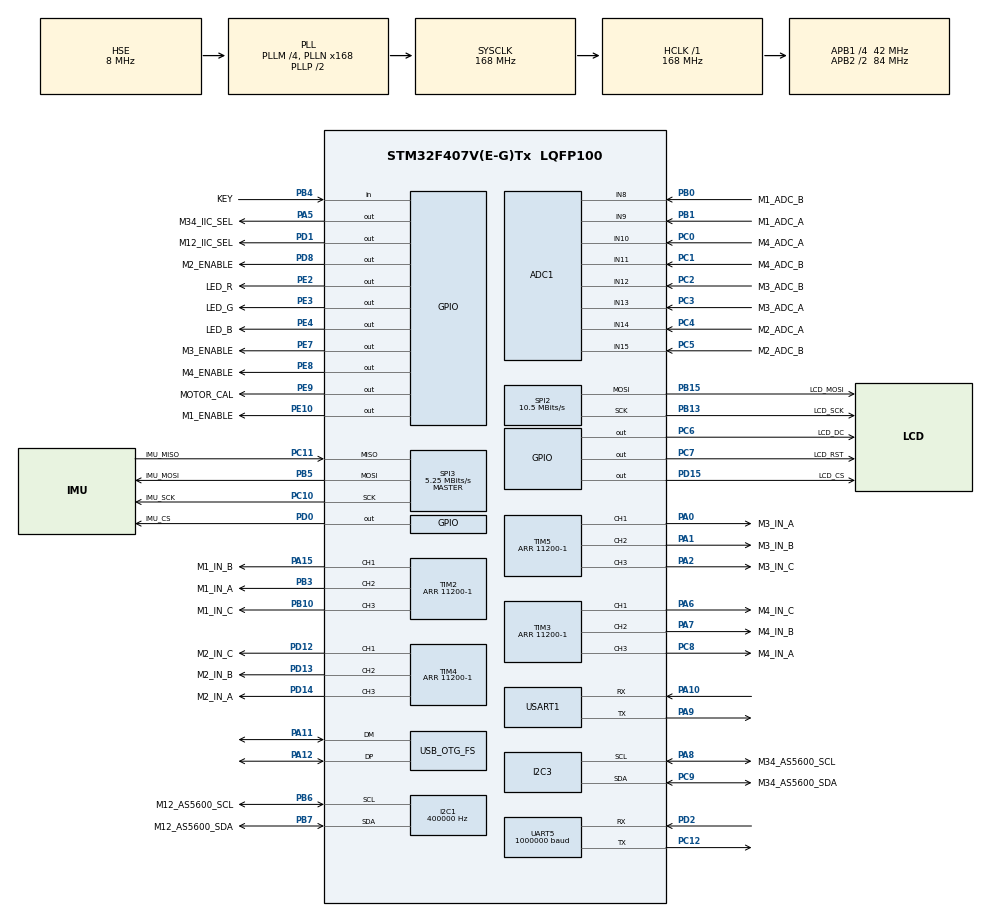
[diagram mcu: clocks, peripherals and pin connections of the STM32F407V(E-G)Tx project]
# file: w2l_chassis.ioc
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ADC1.Channel-1\#ChannelRegularConversion=ADC_CHANNEL_8
ADC1.Channel-2\#ChannelRegularConversion=ADC_CHANNEL_9
ADC1.Channel-3\#ChannelInjectedConversion=ADC_CHANNEL_8
ADC1.Channel-4\#ChannelRegularConversion=ADC_CHANNEL_14
ADC1.Channel-5\#ChannelRegularConversion=ADC_CHANNEL_15
ADC1.Channel-6\#ChannelRegularConversion=ADC_CHANNEL_12
ADC1.Channel-7\#ChannelRegularConversion=ADC_CHANNEL_13
ADC1.Channel-8\#ChannelRegularConversion=ADC_CHANNEL_10
ADC1.Channel-9\#ChannelRegularConversion=ADC_CHANNEL_11
ADC1.DMAContinuousRequests=ENABLE
ADC1.ExternalTrigConv=ADC_EXTERNALTRIGCONV_T3_TRGO
ADC1.ExternalTrigInjecConv=ADC_INJECTED_SOFTWARE_START
ADC1.InjNumberOfConversion=1
ADC1.InjectedOffset-3\#ChannelInjectedConversion=0
ADC1.InjectedRank-3\#ChannelInjectedConversion=1
ADC1.NbrOfConversion=8
ADC1.NbrOfConversionFlag=1
ADC1.Rank-1\#ChannelRegularConversion=1
ADC1.Rank-2\#ChannelRegularConversion=2
ADC1.Rank-4\#ChannelRegularConversion=3
ADC1.Rank-5\#ChannelRegularConversion=4
ADC1.Rank-6\#ChannelRegularConversion=5
ADC1.Rank-7\#ChannelRegularConversion=6
ADC1.Rank-8\#ChannelRegularConversion=7
ADC1.Rank-9\#ChannelRegularConversion=8
ADC1.SamplingTime-1\#ChannelRegularConversion=ADC_SAMPLETIME_15CYCLES
ADC1.SamplingTime-2\#ChannelRegularConversion=ADC_SAMPLETIME_15CYCLES
ADC1.SamplingTime-3\#ChannelInjectedConversion=ADC_SAMPLETIME_3CYCLES
ADC1.SamplingTime-4\#ChannelRegularConversion=ADC_SAMPLETIME_15CYCLES
ADC1.SamplingTime-5\#ChannelRegularConversion=ADC_SAMPLETIME_15CYCLES
ADC1.SamplingTime-6\#ChannelRegularConversion=ADC_SAMPLETIME_15CYCLES
ADC1.SamplingTime-7\#ChannelRegularConversion=ADC_SAMPLETIME_15CYCLES
ADC1.SamplingTime-8\#ChannelRegularConversion=ADC_SAMPLETIME_15CYCLES
ADC1.SamplingTime-9\#ChannelRegularConversion=ADC_SAMPLETIME_15CYCLES
ADC1.ScanConvMode=ENABLE
ADC1.master=1
Dma.ADC1.0.Direction=DMA_PERIPH_TO_MEMORY
Dma.ADC1.0.FIFOMode=DMA_FIFOMODE_DISABLE
Dma.ADC1.0.Instance=DMA2_Stream0
Dma.ADC1.0.MemDataAlignment=DMA_MDATAALIGN_HALFWORD
Dma.ADC1.0.MemInc=DMA_MINC_ENABLE
Dma.ADC1.0.Mode=DMA_CIRCULAR
Dma.ADC1.0.PeriphDataAlignment=DMA_PDATAALIGN_HALFWORD
Dma.ADC1.0.PeriphInc=DMA_PINC_DISABLE
Dma.ADC1.0.Priority=DMA_PRIORITY_HIGH
Dma.I2C1_RX.3.Direction=DMA_PERIPH_TO_MEMORY
Dma.I2C1_RX.3.FIFOMode=DMA_FIFOMODE_DISABLE
Dma.I2C1_RX.3.Instance=DMA1_Stream0
Dma.I2C1_RX.3.MemDataAlignment=DMA_MDATAALIGN_BYTE
Dma.I2C1_RX.3.MemInc=DMA_MINC_ENABLE
Dma.I2C1_RX.3.Mode=DMA_NORMAL
Dma.I2C1_RX.3.PeriphDataAlignment=DMA_PDATAALIGN_BYTE
Dma.I2C1_RX.3.PeriphInc=DMA_PINC_DISABLE
Dma.I2C1_RX.3.Priority=DMA_PRIORITY_LOW
Dma.I2C1_TX.4.Direction=DMA_MEMORY_TO_PERIPH
Dma.I2C1_TX.4.FIFOMode=DMA_FIFOMODE_DISABLE
Dma.I2C1_TX.4.Instance=DMA1_Stream6
Dma.I2C1_TX.4.MemDataAlignment=DMA_MDATAALIGN_BYTE
Dma.I2C1_TX.4.MemInc=DMA_MINC_ENABLE
Dma.I2C1_TX.4.Mode=DMA_NORMAL
Dma.I2C1_TX.4.PeriphDataAlignment=DMA_PDATAALIGN_BYTE
Dma.I2C1_TX.4.PeriphInc=DMA_PINC_DISABLE
Dma.I2C1_TX.4.Priority=DMA_PRIORITY_LOW
Dma.I2C3_RX.1.Direction=DMA_PERIPH_TO_MEMORY
Dma.I2C3_RX.1.FIFOMode=DMA_FIFOMODE_DISABLE
Dma.I2C3_RX.1.Instance=DMA1_Stream2
Dma.I2C3_RX.1.MemDataAlignment=DMA_MDATAALIGN_BYTE
Dma.I2C3_RX.1.MemInc=DMA_MINC_ENABLE
Dma.I2C3_RX.1.Mode=DMA_NORMAL
Dma.I2C3_RX.1.PeriphDataAlignment=DMA_PDATAALIGN_BYTE
Dma.I2C3_RX.1.PeriphInc=DMA_PINC_DISABLE
Dma.I2C3_RX.1.Priority=DMA_PRIORITY_LOW
Dma.I2C3_TX.2.Direction=DMA_MEMORY_TO_PERIPH
Dma.I2C3_TX.2.FIFOMode=DMA_FIFOMODE_DISABLE
Dma.I2C3_TX.2.Instance=DMA1_Stream4
Dma.I2C3_TX.2.MemDataAlignment=DMA_MDATAALIGN_BYTE
Dma.I2C3_TX.2.MemInc=DMA_MINC_ENABLE
Dma.I2C3_TX.2.Mode=DMA_NORMAL
Dma.I2C3_TX.2.PeriphDataAlignment=DMA_PDATAALIGN_BYTE
Dma.I2C3_TX.2.PeriphInc=DMA_PINC_DISABLE
Dma.I2C3_TX.2.Priority=DMA_PRIORITY_LOW
Dma.Request0=ADC1
Dma.Request1=I2C3_RX
Dma.Request2=I2C3_TX
Dma.Request3=I2C1_RX
Dma.Request4=I2C1_TX
I2C1.ClockSpeed=400000
I2C1.I2C_Mode=I2C_Fast
I2C3.I2C_Mode=I2C_Fast
Mcu.Family=STM32F4
Mcu.Name=STM32F407V(E-G)Tx
Mcu.Package=LQFP100
NVIC.DMA1_Stream0_IRQn=true\:0\:0\:false\:false\:true\:false\:true\:true
NVIC.DMA1_Stream2_IRQn=true\:0\:0\:false\:false\:true\:false\:true\:true
NVIC.DMA1_Stream4_IRQn=true\:0\:0\:false\:false\:true\:false\:true\:true
NVIC.DMA1_Stream6_IRQn=true\:0\:0\:false\:false\:true\:false\:true\:true
NVIC.DMA2_Stream0_IRQn=true\:0\:0\:false\:false\:true\:false\:true\:true
NVIC.OTG_FS_IRQn=true\:0\:0\:false\:false\:true\:false\:true\:true
NVIC.PriorityGroup=NVIC_PRIORITYGROUP_4
NVIC.TIM6_DAC_IRQn=true\:0\:0\:false\:false\:true\:true\:true\:true
NVIC.UART5_IRQn=true\:0\:0\:false\:false\:true\:true\:true\:true
PA0-WKUP.GPIO_Label=M3_IN_A
PA0-WKUP.Signal=S_TIM5_CH1
PA1.GPIO_Label=M3_IN_B
PA1.Signal=S_TIM5_CH2
PA10.Mode=Asynchronous
PA10.Signal=USART1_RX
PA11.Mode=Device_Only
PA11.Signal=USB_OTG_FS_DM
PA12.Mode=Device_Only
PA12.Signal=USB_OTG_FS_DP
PA13.Mode=Serial_Wire
PA13.Signal=SYS_JTMS-SWDIO
PA14.Mode=Serial_Wire
PA14.Signal=SYS_JTCK-SWCLK
PA15.GPIO_Label=M1_IN_B
PA15.Signal=S_TIM2_CH1_ETR
PA2.GPIO_Label=M3_IN_C
PA2.Signal=S_TIM5_CH3
PA5.GPIO_Label=M34_IIC_SEL
PA5.PinState=GPIO_PIN_RESET
PA5.Signal=GPIO_Output
PA6.GPIO_Label=M4_IN_C
PA6.Signal=S_TIM3_CH1
PA7.GPIO_Label=M4_IN_B
PA7.Signal=S_TIM3_CH2
PA8.GPIO_Label=M34_AS5600_SCL
PA8.GPIO_Pu=GPIO_PULLUP
PA8.Mode=I2C
PA8.Signal=I2C3_SCL
PA9.Mode=Asynchronous
PA9.Signal=USART1_TX
PB0.GPIO_Label=M1_ADC_B
PB0.GPIO_Mode=GPIO_MODE_ANALOG
PB0.Signal=ADCx_IN8
PB1.GPIO_Label=M1_ADC_A
PB1.GPIO_Mode=GPIO_MODE_ANALOG
PB1.Signal=ADCx_IN9
PB10.GPIO_Label=M1_IN_C
PB10.Signal=S_TIM2_CH3
PB13.GPIO_Label=LCD_SCK
PB13.Mode=TX_Only_Simplex_Unidirect_Master
PB13.Signal=SPI2_SCK
PB15.GPIO_Label=LCD_MOSI
PB15.Mode=TX_Only_Simplex_Unidirect_Master
PB15.Signal=SPI2_MOSI
PB3.GPIO_Label=M1_IN_A
PB3.Signal=S_TIM2_CH2
PB4.GPIO_Label=KEY
PB4.GPIO_PuPd=GPIO_PULLUP
PB4.Signal=GPIO_Input
PB5.GPIO_Label=IMU_MOSI
PB5.Mode=Full_Duplex_Master
PB5.Signal=SPI3_MOSI
PB6.GPIO_Label=M12_AS5600_SCL
PB6.GPIO_Pu=GPIO_NOPULL
PB6.Mode=I2C
PB6.Signal=I2C1_SCL
PB7.GPIO_Label=M12_AS5600_SDA
PB7.GPIO_Pu=GPIO_NOPULL
PB7.Mode=I2C
PB7.Signal=I2C1_SDA
PC0.GPIO_Label=M4_ADC_A
PC0.GPIO_Mode=GPIO_MODE_ANALOG
PC0.Signal=ADCx_IN10
PC1.GPIO_Label=M4_ADC_B
PC1.GPIO_Mode=GPIO_MODE_ANALOG
PC1.Signal=ADCx_IN11
PC10.GPIO_Label=IMU_SCK
PC10.Mode=Full_Duplex_Master
PC10.Signal=SPI3_SCK
PC11.GPIO_Label=IMU_MISO
PC11.Mode=Full_Duplex_Master
PC11.Signal=SPI3_MISO
PC12.Mode=Asynchronous
PC12.Signal=UART5_TX
PC2.GPIO_Label=M3_ADC_B
PC2.GPIO_Mode=GPIO_MODE_ANALOG
PC2.Signal=ADCx_IN12
PC3.GPIO_Label=M3_ADC_A
PC3.GPIO_Mode=GPIO_MODE_ANALOG
PC3.Signal=ADCx_IN13
PC4.GPIO_Label=M2_ADC_A
PC4.GPIO_Mode=GPIO_MODE_ANALOG
PC4.Signal=ADCx_IN14
PC5.GPIO_Label=M2_ADC_B
PC5.GPIO_Mode=GPIO_MODE_ANALOG
PC5.Signal=ADCx_IN15
PC6.GPIO_Label=LCD_DC
PC6.PinState=GPIO_PIN_SET
PC6.Signal=GPIO_Output
PC7.GPIO_Label=LCD_RST
PC7.PinState=GPIO_PIN_SET
PC7.Signal=GPIO_Output
PC8.GPIO_Label=M4_IN_A
PC8.Signal=S_TIM3_CH3
PC9.GPIO_Label=M34_AS5600_SDA
PC9.GPIO_Pu=GPIO_PULLUP
PC9.Mode=I2C
PC9.Signal=I2C3_SDA
PD0.GPIO_Label=IMU_CS
PD0.PinState=GPIO_PIN_SET
PD0.Signal=GPIO_Output
PD1.GPIO_Label=M12_IIC_SEL
PD1.Signal=GPIO_Output
PD12.GPIO_Label=M2_IN_C
PD12.Signal=S_TIM4_CH1
PD13.GPIO_Label=M2_IN_B
PD13.Signal=S_TIM4_CH2
PD14.GPIO_Label=M2_IN_A
PD14.Signal=S_TIM4_CH3
PD15.GPIO_Label=LCD_CS
PD15.PinState=GPIO_PIN_SET
PD15.Signal=GPIO_Output
PD2.Mode=Asynchronous
PD2.Signal=UART5_RX
PD8.GPIO_Label=M2_ENABLE
PD8.Signal=GPIO_Output
PE10.GPIO_Label=M1_ENABLE
PE10.GPIO_PuPd=GPIO_PULLDOWN
PE10.Signal=GPIO_Output
PE2.GPIO_Label=LED_R
PE2.PinState=GPIO_PIN_SET
PE2.Signal=GPIO_Output
PE3.GPIO_Label=LED_G
PE3.PinState=GPIO_PIN_SET
PE3.Signal=GPIO_Output
PE4.GPIO_Label=LED_B
PE4.PinState=GPIO_PIN_SET
PE4.Signal=GPIO_Output
PE7.GPIO_Label=M3_ENABLE
PE7.Signal=GPIO_Output
PE8.GPIO_Label=M4_ENABLE
PE8.Signal=GPIO_Output
PE9.GPIO_Label=MOTOR_CAL
PE9.Signal=GPIO_Output
PH0-OSC_IN.Mode=HSE-External-Oscillator
PH0-OSC_IN.Signal=RCC_OSC_IN
PH1-OSC_OUT.Mode=HSE-External-Oscillator
PH1-OSC_OUT.Signal=RCC_OSC_OUT
ProjectManager.HeapSize=0x200
ProjectManager.StackSize=0x400
ProjectManager.TargetToolchain=MDK-ARM V5.32
RCC.48MHZClocksFreq_Value=48000000
RCC.AHBFreq_Value=168000000
RCC.APB1CLKDivider=RCC_HCLK_DIV4
RCC.APB1Freq_Value=42000000
RCC.APB1TimFreq_Value=84000000
RCC.APB2CLKDivider=RCC_HCLK_DIV2
RCC.APB2Freq_Value=84000000
RCC.APB2TimFreq_Value=168000000
RCC.CortexFreq_Value=168000000
RCC.HCLKFreq_Value=168000000
RCC.HSE_VALUE=8000000
RCC.HSI_VALUE=16000000
RCC.LSE_VALUE=32768
RCC.PLLM=4
RCC.PLLN=168
RCC.PLLQ=7
RCC.SYSCLKFreq_VALUE=168000000
RCC.SYSCLKSource=RCC_SYSCLKSOURCE_PLLCLK
RCC.VCOOutputFreq_Value=336000000
SH.ADCx_IN10.0=ADC1_IN10,IN10
SH.ADCx_IN11.0=ADC1_IN11,IN11
SH.ADCx_IN12.0=ADC1_IN12,IN12
SH.ADCx_IN13.0=ADC1_IN13,IN13
SH.ADCx_IN14.0=ADC1_IN14,IN14
SH.ADCx_IN15.0=ADC1_IN15,IN15
SH.ADCx_IN8.0=ADC1_IN8,IN8
SH.ADCx_IN9.0=ADC1_IN9,IN9
SH.S_TIM2_CH1_ETR.0=TIM2_CH1,PWM Generation1 CH1
SH.S_TIM2_CH2.0=TIM2_CH2,PWM Generation2 CH2
SH.S_TIM2_CH3.0=TIM2_CH3,PWM Generation3 CH3
SH.S_TIM3_CH1.0=TIM3_CH1,PWM Generation1 CH1
SH.S_TIM3_CH2.0=TIM3_CH2,PWM Generation2 CH2
SH.S_TIM3_CH3.0=TIM3_CH3,PWM Generation3 CH3
SH.S_TIM4_CH1.0=TIM4_CH1,PWM Generation1 CH1
SH.S_TIM4_CH2.0=TIM4_CH2,PWM Generation2 CH2
SH.S_TIM4_CH3.0=TIM4_CH3,PWM Generation3 CH3
SH.S_TIM5_CH1.0=TIM5_CH1,PWM Generation1 CH1
SH.S_TIM5_CH2.0=TIM5_CH2,PWM Generation2 CH2
SH.S_TIM5_CH3.0=TIM5_CH3,PWM Generation3 CH3
SPI2.BaudRatePrescaler=SPI_BAUDRATEPRESCALER_4
SPI2.CalculateBaudRate=10.5 MBits/s
SPI2.Direction=SPI_DIRECTION_2LINES
SPI2.Mode=SPI_MODE_MASTER
SPI2.VirtualType=VM_MASTER
SPI3.BaudRatePrescaler=SPI_BAUDRATEPRESCALER_8
SPI3.CLKPhase=SPI_PHASE_2EDGE
SPI3.CLKPolarity=SPI_POLARITY_HIGH
SPI3.CalculateBaudRate=5.25 MBits/s
SPI3.Direction=SPI_DIRECTION_2LINES
SPI3.Mode=SPI_MODE_MASTER
SPI3.VirtualType=VM_MASTER
TIM2.Channel-PWM\ Generation1\ CH1=TIM_CHANNEL_1
TIM2.Channel-PWM\ Generation2\ CH2=TIM_CHANNEL_2
TIM2.Channel-PWM\ Generation3\ CH3=TIM_CHANNEL_3
TIM2.Period=11200-1
TIM2.TIM_MasterOutputTrigger=TIM_TRGO_UPDATE
TIM3.Channel-PWM\ Generation1\ CH1=TIM_CHANNEL_1
TIM3.Channel-PWM\ Generation2\ CH2=TIM_CHANNEL_2
TIM3.Channel-PWM\ Generation3\ CH3=TIM_CHANNEL_3
TIM3.Period=11200-1
TIM3.TIM_MasterOutputTrigger=TIM_TRGO_UPDATE
TIM4.Channel-PWM\ Generation1\ CH1=TIM_CHANNEL_1
TIM4.Channel-PWM\ Generation2\ CH2=TIM_CHANNEL_2
TIM4.Channel-PWM\ Generation3\ CH3=TIM_CHANNEL_3
TIM4.Period=11200-1
TIM4.TIM_MasterOutputTrigger=TIM_TRGO_UPDATE
TIM5.Channel-PWM\ Generation1\ CH1=TIM_CHANNEL_1
TIM5.Channel-PWM\ Generation2\ CH2=TIM_CHANNEL_2
TIM5.Channel-PWM\ Generation3\ CH3=TIM_CHANNEL_3
TIM5.Period=11200-1
TIM5.TIM_MasterOutputTrigger=TIM_TRGO_UPDATE
TIM6.Period=999
TIM6.Prescaler=41
UART5.BaudRate=1000000
UART5.VirtualMode=Asynchronous
USART1.VirtualMode=VM_ASYNC
USB_DEVICE.CLASS_NAME_FS=CDC
USB_DEVICE.VirtualMode-CDC_FS=Cdc
USB_DEVICE.VirtualModeFS=Cdc_FS
USB_OTG_FS.VirtualMode=Device_Only
VP_TIM2_VS_ClockSourceINT.Mode=Internal
VP_TIM3_VS_ClockSourceINT.Mode=Internal
VP_TIM4_VS_ClockSourceINT.Mode=Internal
VP_TIM5_VS_ClockSourceINT.Mode=Internal
VP_TIM6_VS_ClockSourceINT.Mode=Enable_Timer
VP_USB_DEVICE_VS_USB_DEVICE_CDC_FS.Mode=CDC_FS
board=custom

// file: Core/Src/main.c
/* USER CODE BEGIN Header */
/**
  ******************************************************************************
  * @file           : main.c
  * @brief          : Main program body
  ******************************************************************************
  * @attention
  *
  * Copyright (c) 2026 STMicroelectronics.
  * All rights reserved.
  *
  * This software is licensed under terms that can be found in the LICENSE file
  * in the root directory of this software component.
  * If no LICENSE file comes with this software, it is provided AS-IS.
  *
  ******************************************************************************
  */
/* USER CODE END Header */
#include "main.h"
#include "adc.h"
#include "dma.h"
#include "i2c.h"
#include "spi.h"
#include "tim.h"
#include "usart.h"
#include "usb_device.h"
#include "gpio.h"

/* USER CODE BEGIN Includes */
#include "usbd_cdc_if.h"
#include "imu660rb.h"
#include "ips114.h"
#include "led.h"
#include "AS5600.h"
#include <stdio.h>
#include <stdint.h>
#include "myfoc.h"
#include "motor.h"
#include "key.h"
/* USER CODE END Includes */

void SystemClock_Config(void);

/* USER CODE BEGIN 0 */
uint32_t last_report = 0U;
uint8_t key = 0;
uint8_t motor = 0;
float    g_thm = 0.0f;
uint32_t last_angle = 0U;
uint32_t last_speed = 0U;

/* ����Ŀ��ת�٣�rpm���������� */
#define SPEED_TARGET_RPM  200.0f

void HAL_TIM_PeriodElapsedCallback(TIM_HandleTypeDef *htim)
{
   static uint8_t half = 0U;

    if (htim->Instance == TIM6)
    {
			if(motor == 1){
				if (half == 0U)
        {
            CurrentLoop(1U, g_thm, 0.0f, g_iq[0]);
            CurrentLoop(3U, g_thm, 0.0f, g_iq[2]);
						half = 1U;
        }
        else
        {
            CurrentLoop(2U, g_thm, 0.0f, g_iq[1]);
            CurrentLoop(4U, g_thm, 0.0f, g_iq[3]);
						half = 0U;
        }
			}
    }
}

/* USER CODE END 0 */

int main(void)
{

  /* MCU Configuration--------------------------------------------------------*/

  /* Reset of all peripherals, Initializes the Flash interface and the Systick. */
  HAL_Init();

  /* Configure the system clock */
  SystemClock_Config();

  /* Initialize all configured peripherals */
  MX_GPIO_Init();
  MX_DMA_Init();
  MX_USB_DEVICE_Init();
  MX_ADC1_Init();
  MX_I2C1_Init();
  MX_I2C3_Init();
  MX_SPI2_Init();
  MX_SPI3_Init();
  MX_TIM2_Init();
  MX_TIM3_Init();
  MX_TIM4_Init();
  MX_TIM5_Init();
  MX_UART5_Init();
  MX_USART1_UART_Init();
  MX_TIM6_Init();
  /* USER CODE BEGIN 2 */
	HAL_Delay(1000);
  MOTOR_Init(4U);

  HAL_TIM_Base_Start_IT(&htim6);   /* 1kHz */

  /* USER CODE END 2 */

  /* Infinite loop */
  /* USER CODE BEGIN WHILE */

  while (1)
  {

    uint32_t now = HAL_GetTick();
    (void)Encoder_StartReadDMA(4U);

    {
      float thm = 0.0f;
      if (Encoder_ReadAngle(4U, &thm))
      {
        g_thm = thm;
      }
    }

    // �ٶȻ�
    if ((now - last_speed) >= SPEED_LOOP_PERIOD_MS)
    {
      last_speed = now;
      SpeedLoop(4U, SPEED_TARGET_RPM, g_thm);
    }

		key = Key_Scan();
		if(key == 2){
			if(motor == 0){
				motor = 1;
			}else{
				motor = 0;
			}
			if(motor == 1){
				SpeedReset(4U);
				MOTOR_Start(4);
			}else{
				SpeedReset(4U);
				MOTOR_Stop(4);
			}
		}

    if ((now - last_report) >= 20U)
    {
      last_report = now;

      /* VOFA FireWater ���ԣ�g_thm, rpm, iq, ia, ib */
      usb_printf("%.3f,%.3f,%.3f,%.3f,%.3f\n",
                 (float)g_thm, (float)g_rpm[3], (float)g_iq[3],
                 MOTOR_GetCurrent(4U, MOTOR_PHASE_A), MOTOR_GetCurrent(4U, MOTOR_PHASE_B));

    }

    /* USER CODE END WHILE */

  }
}

void SystemClock_Config(void)
{
  RCC_OscInitTypeDef RCC_OscInitStruct = {0};
  RCC_ClkInitTypeDef RCC_ClkInitStruct = {0};

  /** Configure the main internal regulator output voltage
  */
  __HAL_RCC_PWR_CLK_ENABLE();
  __HAL_PWR_VOLTAGESCALING_CONFIG(PWR_REGULATOR_VOLTAGE_SCALE1);

  /** Initializes the RCC Oscillators according to the specified parameters
  * in the RCC_OscInitTypeDef structure.
  */
  RCC_OscInitStruct.OscillatorType = RCC_OSCILLATORTYPE_HSE;
  RCC_OscInitStruct.HSEState = RCC_HSE_ON;
  RCC_OscInitStruct.PLL.PLLState = RCC_PLL_ON;
  RCC_OscInitStruct.PLL.PLLSource = RCC_PLLSOURCE_HSE;
  RCC_OscInitStruct.PLL.PLLM = 4;
  RCC_OscInitStruct.PLL.PLLN = 168;
  RCC_OscInitStruct.PLL.PLLP = RCC_PLLP_DIV2;
  RCC_OscInitStruct.PLL.PLLQ = 7;
  if (HAL_RCC_OscConfig(&RCC_OscInitStruct) != HAL_OK)
  {
    Error_Handler();
  }

  /** Initializes the CPU, AHB and APB buses clocks
  */
  RCC_ClkInitStruct.ClockType = RCC_CLOCKTYPE_HCLK|RCC_CLOCKTYPE_SYSCLK
                              |RCC_CLOCKTYPE_PCLK1|RCC_CLOCKTYPE_PCLK2;
  RCC_ClkInitStruct.SYSCLKSource = RCC_SYSCLKSOURCE_PLLCLK;
  RCC_ClkInitStruct.AHBCLKDivider = RCC_SYSCLK_DIV1;
  RCC_ClkInitStruct.APB1CLKDivider = RCC_HCLK_DIV4;
  RCC_ClkInitStruct.APB2CLKDivider = RCC_HCLK_DIV2;

  if (HAL_RCC_ClockConfig(&RCC_ClkInitStruct, FLASH_LATENCY_5) != HAL_OK)
  {
    Error_Handler();
  }
}

void Error_Handler(void)
{
  __disable_irq();
  while (1)
  {
  }
}
